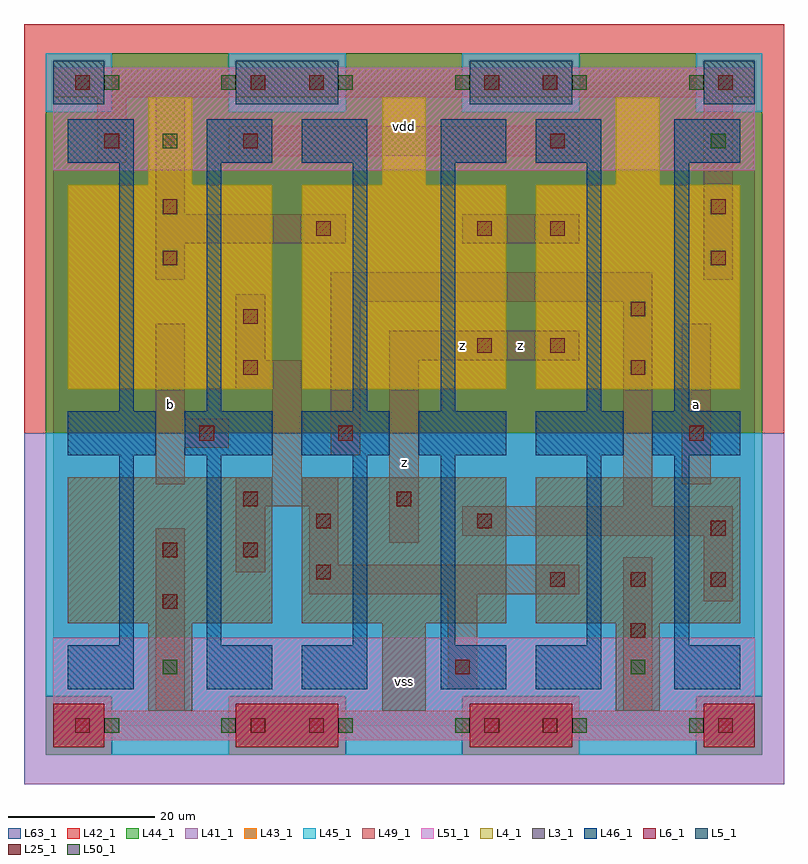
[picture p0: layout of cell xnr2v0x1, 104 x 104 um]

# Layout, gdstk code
import gdstk
lib = gdstk.Library(unit=1e-6, precision=1e-09)
def R(c, l, rs):  # rectangles x0, y0, x1, y1
    for r in rs: c.add(gdstk.rectangle(r[:2], r[2:], *l))
def A(c, l, x, y, w, h, nx, ny, dx, dy):  # array of equal rectangles
    R(c, l, [(x+i*dx, y+j*dy, x+i*dx+w, y+j*dy+h) for i in range(nx) for j in range(ny)])
L3_1 = (3, 1)
L4_1 = (4, 1)
L5_1 = (5, 1)
L6_1 = (6, 1)
L25_1 = (25, 1)
L41_1 = (41, 1)
L42_1 = (42, 1)
L43_1 = (43, 1)
L44_1 = (44, 1)
L45_1 = (45, 1)
L46_1 = (46, 1)
L49_1 = (49, 1)
L50_1 = (50, 1)
L51_1 = (51, 1)
L63_1 = (63, 1)

xnr2v0x1 = lib.new_cell('xnr2v0x1')
A(xnr2v0x1, L3_1, 13, 2, 6, 12, 3, 1, 32, 0)
A(xnr2v0x1, L3_1, 2, 14, 28, 20, 3, 1, 32, 0)
A(xnr2v0x1, L4_1, 2, 46, 28, 28, 3, 1, 32, 0)
A(xnr2v0x1, L4_1, 13, 74, 6, 12, 3, 1, 32, 0)
R(xnr2v0x1, L5_1, [(0,85,7,91), (25,85,39,91), (57,85,71,91), (89,85,96,91)])
R(xnr2v0x1, L6_1, [(0,-3,7,3), (0,-3,7,3), (25,-3,39,3), (25,-3,39,3), (57,-3,71,3), (57,-3,71,3), (89,-3,96,3), (89,-3,96,3)])
A(xnr2v0x1, L25_1, 68, 19, 2, 2, 3, 1, 11, 0)
R(xnr2v0x1, L25_1, [(3,-1,5,1), (27,-1,29,1), (35,-1,37,1), (59,-1,61,1), (67,-1,69,1), (91,-1,93,1), (55,7,57,9), (79,12,81,14), (15,16,17,18), (36,20,38,22), (15,23,17,25), (26,23,28,25), (90,26,92,28), (36,27,38,29), (58,27,60,29), (26,30,28,32), (47,30,49,32), (20,39,22,41), (39,39,41,41), (87,39,89,41), (26,48,28,50), (79,48,81,50), (58,51,60,53), (68,51,70,53), (26,55,28,57), (79,56,81,58), (15,63,17,65), (90,63,92,65), (36,67,38,69), (58,67,60,69), (68,67,70,69), (15,70,17,72), (90,70,92,72), (7,79,9,81), (26,79,28,81), (68,79,70,81), (3,87,5,89), (27,87,29,89), (35,87,37,89), (59,87,61,89), (67,87,69,89), (91,87,93,89)])
R(xnr2v0x1, L41_1, [(-4,-8,100,40)])
R(xnr2v0x1, L42_1, [(-4,40,100,96)])
A(xnr2v0x1, L43_1, 13, 2, 6, 12, 3, 2, 32, 72)
A(xnr2v0x1, L43_1, 2, 14, 28, 20, 3, 1, 32, 0)
A(xnr2v0x1, L43_1, 2, 46, 28, 28, 3, 1, 32, 0)
R(xnr2v0x1, L43_1, [(0,-3,7,3), (25,-3,39,3), (57,-3,71,3), (89,-3,96,3), (0,85,7,91), (25,85,39,91), (57,85,71,91), (89,85,96,91)])
A(xnr2v0x1, L44_1, 8, 84, 16, 8, 3, 1, 32, 0)
R(xnr2v0x1, L44_1, [(-1,-4,8,4), (24,-4,40,4), (56,-4,72,4), (88,-4,97,4), (-1,40,97,84)])
A(xnr2v0x1, L45_1, 8, -4, 16, 8, 3, 1, 32, 0)
R(xnr2v0x1, L45_1, [(-1,4,97,40), (-1,84,8,92), (24,84,40,92), (56,84,72,92), (88,84,97,92)])
A(xnr2v0x1, L46_1, 2, 37, 12, 6, 6, 1, 16, 0)
R(xnr2v0x1, L46_1, [(2,5,11,11), (21,5,30,11), (34,5,43,11), (53,5,62,11), (66,5,75,11), (85,5,94,11), (9,11,11,37), (21,11,23,37), (41,11,43,37), (53,11,55,37), (73,11,75,37), (85,11,87,37), (9,43,11,77), (21,43,23,77), (41,43,43,77), (53,43,55,77), (73,43,75,77), (85,43,87,77), (2,77,11,83), (21,77,30,83), (34,77,43,83), (53,77,62,83), (66,77,75,83), (85,77,94,83)])
R(xnr2v0x1, L49_1, [(0,-2,96,2), (14,2,18,27), (78,2,82,23), (54,5,58,18), (89,17,93,26), (35,18,72,22), (25,21,29,30), (35,22,39,30), (46,25,50,50), (56,26,93,30), (25,30,39,34), (78,30,82,58), (14,33,18,38), (86,33,90,55), (30,34,34,46), (38,37,42,58), (14,38,24,42), (14,42,18,55), (25,46,34,50), (25,50,29,59), (46,50,72,54), (38,58,82,62), (14,61,18,66), (89,61,93,86), (14,66,40,70), (56,66,72,70), (14,70,18,86), (6,77,10,86), (24,78,72,82), (0,86,96,90)])
A(xnr2v0x1, L50_1, 7, -1, 2, 2, 6, 2, 16, 88)
R(xnr2v0x1, L50_1, [(15,7,17,9), (79,7,81,9), (15,79,17,81), (90,79,92,81)])
R(xnr2v0x1, L51_1, [(0,-2,96,12), (0,76,96,90)])
R(xnr2v0x1, L63_1, [(0,0,96,88)])
xnr2v0x1.add(gdstk.Label('b', (16,44), layer=49, texttype=1))
xnr2v0x1.add(gdstk.Label('z', (48,36), layer=49, texttype=1))
xnr2v0x1.add(gdstk.Label('z', (64,52), layer=49, texttype=1))
xnr2v0x1.add(gdstk.Label('z', (56,52), layer=49, texttype=1))
xnr2v0x1.add(gdstk.Label('a', (88,44), layer=49, texttype=1))
xnr2v0x1.add(gdstk.Label('vss', (48,6), layer=51, texttype=1))
xnr2v0x1.add(gdstk.Label('vdd', (48,82), layer=51, texttype=1))

lib.write_gds('xnr2v0x1.gds')
